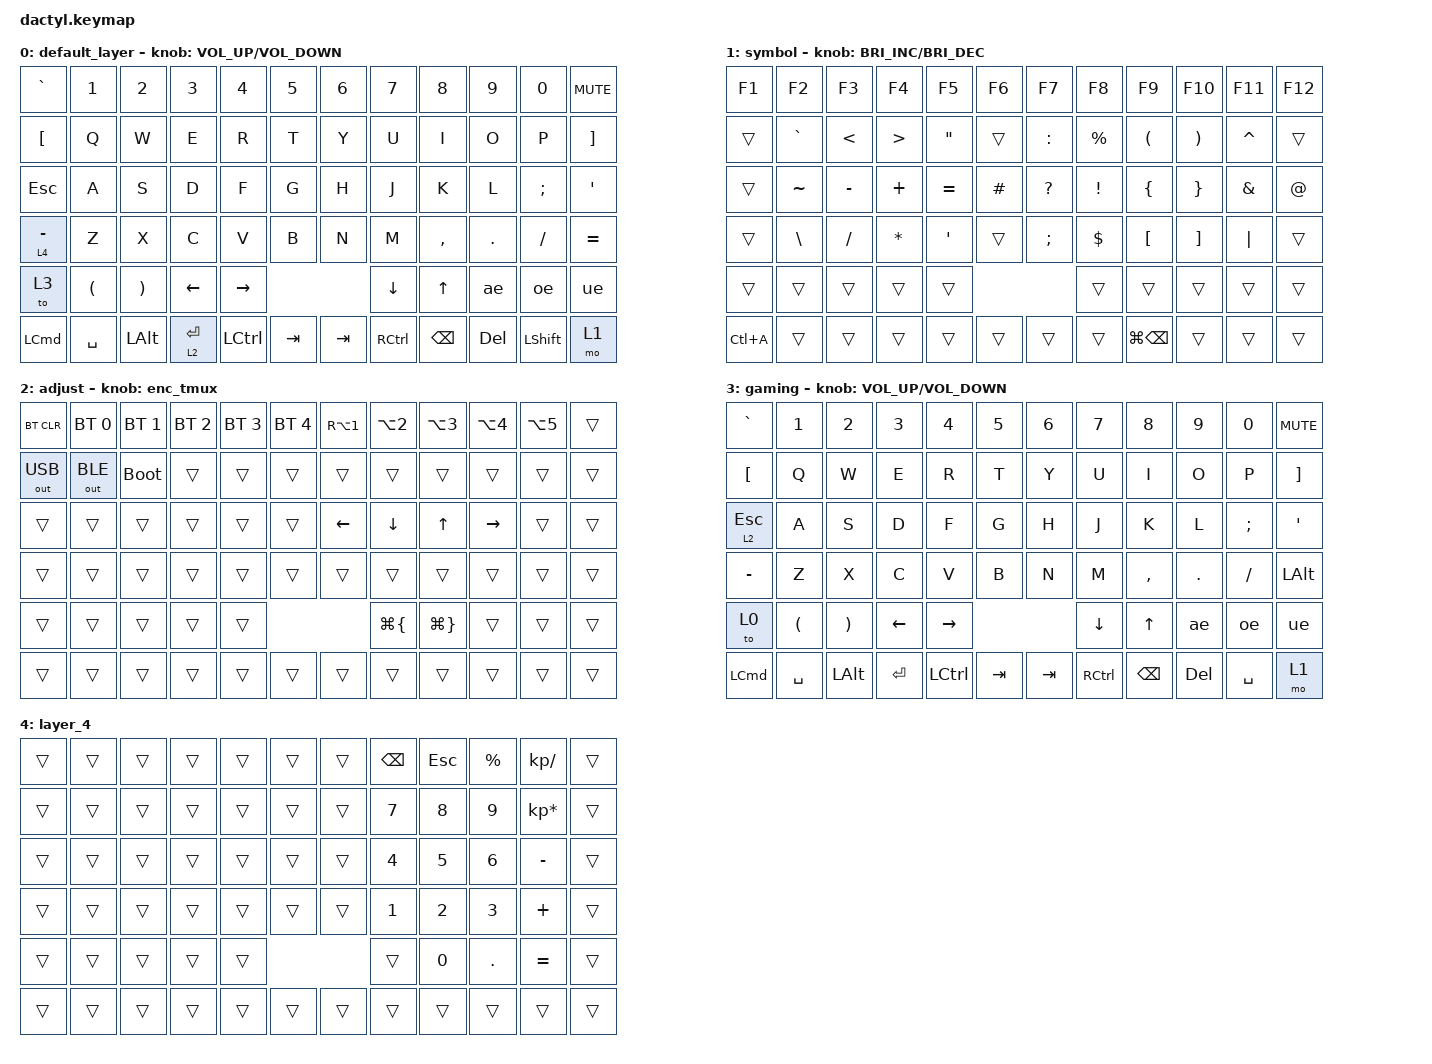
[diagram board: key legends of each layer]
#define ZMK_POINTING_DEFAULT_MOVE_VAL 1500  // default: 600
#define ZMK_POINTING_DEFAULT_SCRL_VAL 20    // default: 10

#include <dt-bindings/zmk/mouse.h>
#include <behaviors.dtsi>
#include <dt-bindings/zmk/bt.h>
#include <dt-bindings/zmk/keys.h>
#include <dt-bindings/zmk/outputs.h>

#define DEFAULT 0
#define LOWER 1
#define RAISE 2
#define ADJUST 3

/ {
    macros {
        gg: gg {
            compatible = "zmk,behavior-macro";
            #binding-cells = <0>;
            bindings = <&kp G &kp G>;
            label = "GG";
        };

        vim_write: vim_write {
            compatible = "zmk,behavior-macro";
            #binding-cells = <0>;
            bindings = <&kp COLON &kp W &kp ENTER>;
            label = "VIM_WRITE";
        };

        tmux_n1: tmux_next {
            compatible = "zmk,behavior-macro";
            #binding-cells = <0>;
            bindings = <&kp LC(A) &kp NUMBER_1>;
            label = "TMUX_NEXT";
        };

        tmux_n2: tmux_n2 {
            compatible = "zmk,behavior-macro";
            #binding-cells = <0>;
            bindings = <&kp LC(A) &kp NUMBER_2>;
            label = "TMUX_N2";
        };

        tmux_n3: tmux_n3 {
            compatible = "zmk,behavior-macro";
            #binding-cells = <0>;
            bindings = <&kp LC(A) &kp NUMBER_3>;
            label = "TMUX_N3";
        };

        tmux_n4: tmux_n4 {
            compatible = "zmk,behavior-macro";
            #binding-cells = <0>;
            bindings = <&kp LC(A) &kp NUMBER_4>;
            label = "TMUX_N4";
        };

        tmux_next: tmux_next_win {
            compatible = "zmk,behavior-macro";
            #binding-cells = <0>;
            bindings = <&kp LC(A) &kp N>;
            label = "TMUX_NEXT_WIN";
        };

        tmux_prev: tmux_prev_win {
            compatible = "zmk,behavior-macro";
            #binding-cells = <0>;
            bindings = <&kp LC(A) &kp P>;
            label = "TMUX_PREV_WIN";
        };

        ae: ae {
            compatible = "zmk,behavior-macro";
            #binding-cells = <0>;
            bindings = <&kp LA(U) &kp A>;
            label = "AE";
        };

        oe: oe {
            compatible = "zmk,behavior-macro";
            #binding-cells = <0>;
            bindings = <&kp LA(U) &kp O>;
            label = "OE";
        };

        ue: ue {
            compatible = "zmk,behavior-macro";
            #binding-cells = <0>;
            bindings = <&kp LA(U) &kp U>;
            label = "UE";
        };
    };

    behaviors {
        enc_tmux: enc_tmux {
            compatible = "zmk,behavior-sensor-rotate";
            #sensor-binding-cells = <0>;
            bindings = <&tmux_next>, <&tmux_prev>;
        };
    };

    combos {
        compatible = "zmk,combos";

        Caps {
            bindings = <&kp CAPSLOCK>;
            key-positions = <61 66>;
        };
    };

    keymap {
        compatible = "zmk,keymap";

        // 70 bindings per layer — must match matrix transform exactly
        //
        // Row 0: 6L + 6R = 12  (cols 0-5 | 6-11)
        // Row 1: 6L + 6R = 12  (cols 0-5 | 6-11)
        // Row 2: 6L + 6R = 12  (cols 0-5 | 6-11)
        // Row 3: 6L + 6R = 12  (cols 0-5 | 6-11)
        // Row 4: 5L + 5R = 10  (cols 1-5 | 6-10)
        // Row 5: 6L + 6R = 12  (cols 0-5 | 6-11)
        // Total: 70

        default_layer {
            bindings = <
&kp GRAVE         &kp N1                &kp N2                 &kp N3          &kp N4            &kp N5   &kp N6   &kp N7             &kp N8         &kp N9   &kp N0          &kp K_MUTE
&kp LEFT_BRACKET  &kp Q                 &kp W                  &kp E           &kp R             &kp T    &kp Y    &kp U              &kp I          &kp O    &kp P           &kp RIGHT_BRACKET
&kp ESCAPE        &kp A                 &kp S                  &kp D           &kp F             &kp G    &kp H    &kp J              &kp K          &kp L    &kp SEMI        &kp APOS
&lt 4 MINUS       &kp Z                 &kp X                  &kp C           &kp V             &kp B    &kp N    &kp M              &kp COMMA      &kp DOT  &kp FSLH        &kp EQUAL
&to 3             &kp LEFT_PARENTHESIS  &kp RIGHT_PARENTHESIS  &kp LEFT_ARROW  &kp RIGHT                           &kp DOWN           &kp UP_ARROW   &ae      &oe             &ue
&kp LEFT_COMMAND  &kp SPACE             &kp LEFT_ALT           &lt 2 ENTER     &kp LEFT_CONTROL  &kp TAB  &kp TAB  &kp RIGHT_CONTROL  &kp BACKSPACE  &kp DEL  &kp LEFT_SHIFT  &mo 1
            >;

            sensor-bindings = <&inc_dec_kp C_VOLUME_UP C_VOLUME_DOWN>;
        };

        symbol {
            bindings = <
&kp F1     &kp F2         &kp F3         &kp F4            &kp F5             &kp F6    &kp F7         &kp F8       &kp F9                &kp F10                &kp F11    &kp F12
&trans     &kp GRAVE      &kp LESS_THAN  &kp GREATER_THAN  &kp DOUBLE_QUOTES  &trans    &kp COLON      &kp PERCENT  &kp LEFT_PARENTHESIS  &kp RIGHT_PARENTHESIS  &kp CARET  &trans
&trans     &kp TILDE      &kp MINUS      &kp PLUS          &kp EQUAL          &kp HASH  &kp QUESTION   &kp EXCL     &kp LEFT_BRACE        &kp RIGHT_BRACE        &kp AMPS   &kp AT
&trans     &kp BACKSLASH  &kp SLASH      &kp STAR          &kp SINGLE_QUOTE   &trans    &kp SEMICOLON  &kp DOLLAR   &kp LEFT_BRACKET      &kp RIGHT_BRACKET      &kp PIPE   &trans
&trans     &trans         &trans         &trans            &trans                                      &trans       &trans                &trans                 &trans     &trans
&kp LC(A)  &trans         &trans         &trans            &trans             &trans    &trans         &trans       &kp LG(BACKSPACE)     &trans                 &trans     &trans
            >;

            sensor-bindings = <&inc_dec_kp C_BRIGHTNESS_INC C_BRIGHTNESS_DEC>;
        };

        adjust {
            bindings = <
&bt BT_CLR    &bt BT_SEL 0  &bt BT_SEL 1  &bt BT_SEL 2  &bt BT_SEL 3  &bt BT_SEL 4  &kp RA(NUMBER_1)  &kp LA(NUMBER_2)    &kp LA(NUMBER_3)     &kp LA(NUMBER_4)  &kp LA(N5)  &trans
&out OUT_USB  &out OUT_BLE  &bootloader   &trans        &trans        &trans        &trans            &trans              &trans               &trans            &trans      &trans
&trans        &trans        &trans        &trans        &trans        &trans        &kp LEFT          &kp DOWN            &kp UP_ARROW         &kp RIGHT         &trans      &trans
&trans        &trans        &trans        &trans        &trans        &trans        &trans            &trans              &trans               &trans            &trans      &trans
&trans        &trans        &trans        &trans        &trans                                        &kp LG(LEFT_BRACE)  &kp LG(RIGHT_BRACE)  &trans            &trans      &trans
&trans        &trans        &trans        &trans        &trans        &trans        &trans            &trans              &trans               &trans            &trans      &trans
            >;

            sensor-bindings = <&enc_tmux>;
        };

        gaming {
            bindings = <
&kp GRAVE         &kp N1                &kp N2                 &kp N3          &kp N4            &kp N5   &kp N6   &kp N7             &kp N8         &kp N9   &kp N0     &kp K_MUTE
&kp LEFT_BRACKET  &kp Q                 &kp W                  &kp E           &kp R             &kp T    &kp Y    &kp U              &kp I          &kp O    &kp P      &kp RIGHT_BRACKET
&lt 2 ESCAPE      &kp A                 &kp S                  &kp D           &kp F             &kp G    &kp H    &kp J              &kp K          &kp L    &kp SEMI   &kp APOS
&kp MINUS         &kp Z                 &kp X                  &kp C           &kp V             &kp B    &kp N    &kp M              &kp COMMA      &kp DOT  &kp FSLH   &kp LALT
&to 0             &kp LEFT_PARENTHESIS  &kp RIGHT_PARENTHESIS  &kp LEFT_ARROW  &kp RIGHT                           &kp DOWN           &kp UP_ARROW   &ae      &oe        &ue
&kp LEFT_COMMAND  &kp SPACE             &kp LEFT_ALT           &kp ENTER       &kp LEFT_CONTROL  &kp TAB  &kp TAB  &kp RIGHT_CONTROL  &kp BACKSPACE  &kp DEL  &kp SPACE  &mo 1
            >;

            sensor-bindings = <&inc_dec_kp C_VOLUME_UP C_VOLUME_DOWN>;
        };

        layer_4 {
            bindings = <
&trans  &trans  &trans  &trans  &trans  &trans  &trans  &kp BSPC  &kp ESC  &kp PERCENT  &kp KP_DIVIDE    &trans
&trans  &trans  &trans  &trans  &trans  &trans  &trans  &kp N7    &kp N8   &kp N9       &kp KP_ASTERISK  &trans
&trans  &trans  &trans  &trans  &trans  &trans  &trans  &kp N4    &kp N5   &kp N6       &kp MINUS        &trans
&trans  &trans  &trans  &trans  &trans  &trans  &trans  &kp N1    &kp N2   &kp N3       &kp PLUS         &trans
&trans  &trans  &trans  &trans  &trans                  &trans    &kp N0   &kp DOT      &kp EQUAL        &trans
&trans  &trans  &trans  &trans  &trans  &trans  &trans  &trans    &trans   &trans       &trans           &trans
            >;
        };
    };
};
